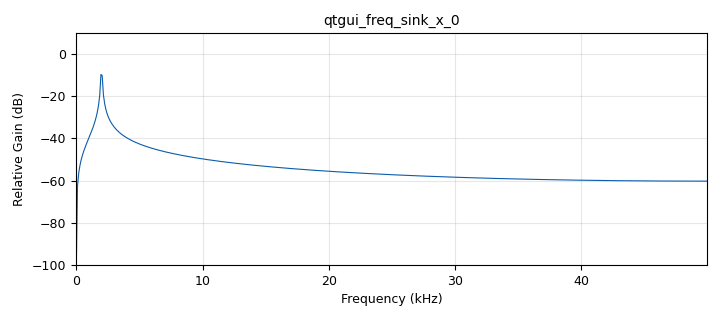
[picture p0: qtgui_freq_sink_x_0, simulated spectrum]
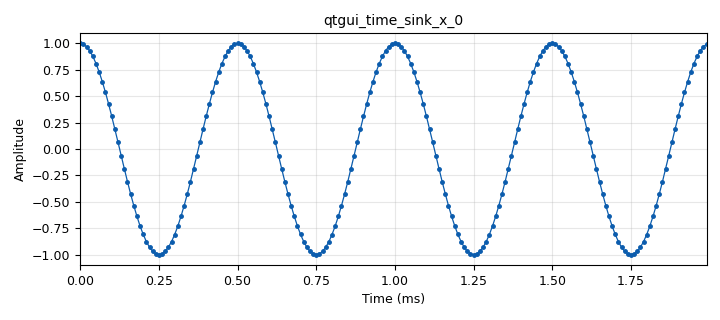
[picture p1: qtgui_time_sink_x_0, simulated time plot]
options:
  parameters:
    generate_options: qt_gui
    id: default
    output_language: python
    title: Nyquist Sampling and Aliasing
  states: {}

blocks:
- name: samp_rate
  id: variable
  parameters:
    value: 100e3
  states: {}
- name: tone_freq
  id: variable_qtgui_range
  parameters:
    start: '100'
    step: '100'
    stop: 100e3
    value: 2e3
  states: {}
- name: analog_sig_source_x_0
  id: analog_sig_source_x
  parameters:
    amp: '1'
    freq: tone_freq
    offset: '0'
    phase: '0'
    samp_rate: samp_rate
    type: float
    waveform: analog.GR_COS_WAVE
  states: {}
- name: blocks_throttle2_0
  id: blocks_throttle2
  parameters:
    samples_per_second: samp_rate
    type: float
  states: {}
- name: qtgui_freq_sink_x_0
  id: qtgui_freq_sink_x
  parameters:
    bw: samp_rate
    fc: '0'
    fftsize: '1024'
    freqhalf: 'False'
    grid: 'True'
    type: float
    wintype: window.WIN_RECTANGULAR
    ymin: '-100'
  states: {}
- name: qtgui_time_sink_x_0
  id: qtgui_time_sink_x
  parameters:
    autoscale: 'True'
    marker1: '0'
    size: '200'
    srate: samp_rate
    type: float
  states: {}

connections:
- [analog_sig_source_x_0, '0', blocks_throttle2_0, '0']
- [blocks_throttle2_0, '0', qtgui_freq_sink_x_0, '0']
- [blocks_throttle2_0, '0', qtgui_time_sink_x_0, '0']

metadata:
  file_format: 1
  grc_version: 3.10.12.0
